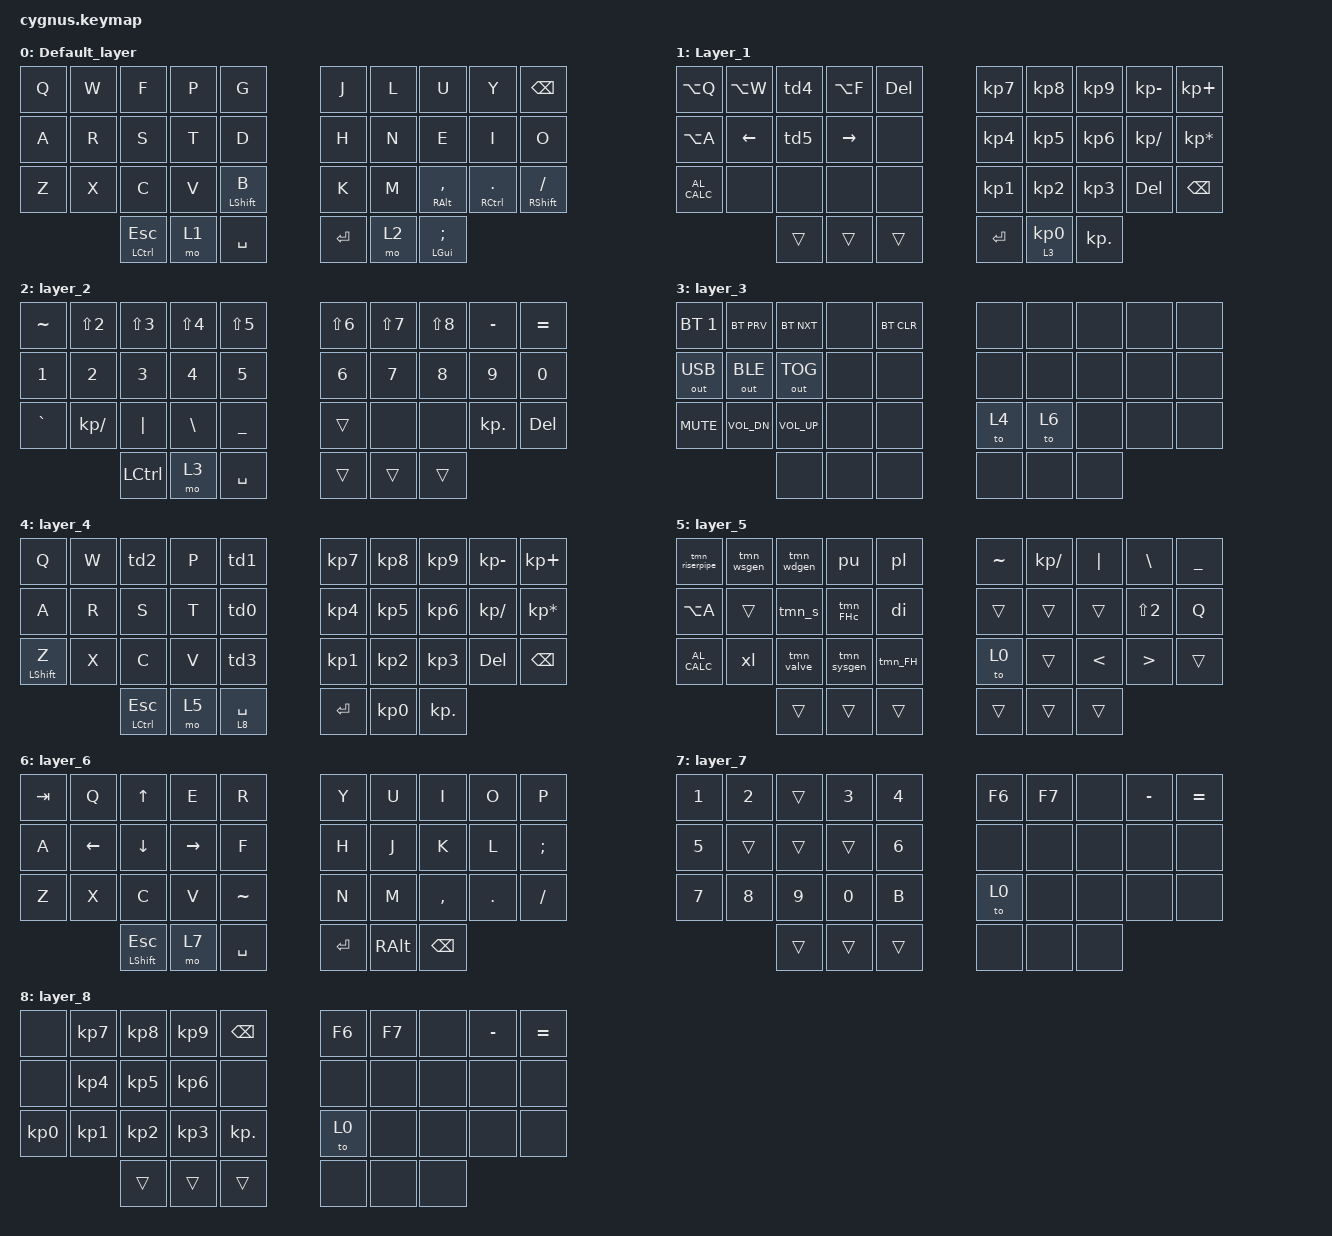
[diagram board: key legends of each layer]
/*
* Copyright (c) 2021 The ZMK Contributors
*
* SPDX-License-Identifier: MIT
*/

#include <behaviors.dtsi>
#include <dt-bindings/zmk/bt.h>
#include <dt-bindings/zmk/keys.h>
#include <dt-bindings/zmk/outputs.h>


/ {
    behaviors {
	    td0: tap_dance_0 {
            compatible = "zmk,behavior-tap-dance";
            label = "TAP_DANCE_0";
            #binding-cells = <0>;
            tapping-term-ms = <200>;
            bindings = 	<&kp O>, 
			            <&kp D>;
        };
	    td1: tap_dance_1 {
            compatible = "zmk,behavior-tap-dance";
            label = "TAP_DANCE_1";
            #binding-cells = <0>;
            tapping-term-ms = <200>;
            bindings = 	<&kp L>, 
			            <&kp I>;
        };
	    td2: tap_dance_2 {
            compatible = "zmk,behavior-tap-dance";
            label = "TAP_DANCE_2";
            #binding-cells = <0>;
            tapping-term-ms = <200>;
            bindings = 	<&kp E>, 
			            <&kp F>;
        };
        td3: tap_dance_3 {
            compatible = "zmk,behavior-tap-dance";
            label = "TAP_DANCE_3";
            #binding-cells = <0>;
            tapping-term-ms = <200>;
            bindings = 	<&kp M>, 
			            <&kp B>;
        };
        td4: tap_dance_4 {
            compatible = "zmk,behavior-tap-dance";
            label = "TAP_DANCE_4";
            #binding-cells = <0>;
            tapping-term-ms = <200>;
            bindings = 	<&kp UP_ARROW>, 
			            <&kp PAGE_UP>;
        };
        td5: tap_dance_5 {
            compatible = "zmk,behavior-tap-dance";
            label = "TAP_DANCE_5";
            #binding-cells = <0>;
            tapping-term-ms = <200>;
            bindings = 	<&kp DOWN_ARROW>, 
			            <&kp PAGE_DOWN>;
        };
        hm_l: homerow_mods_left {
            compatible = "zmk,behavior-hold-tap";
            label = "homerow mods";
            #binding-cells = <2>;
            tapping_term_ms = <170>;
            quick-tap-ms = <0>;
            require-prior-idle-ms = <125>;
            flavor = "tap-preferred";
            bindings =
                <&kp>,
                <&kp>;
        };
        hm_r: homerow_mods_right {
            compatible = "zmk,behavior-hold-tap";
            label = "homerow mods";
            #binding-cells = <2>;
            tapping_term_ms = <200>;
            quick-tap-ms = <150>;
            require-prior-idle-ms = <125>;
            flavor = "balanced";
            bindings =
                <&kp>,
                <&kp>;
        };
        qt: quick_tap {
            compatible = "zmk,behavior-hold-tap";
            label = "QUICK_TAP";
            #binding-cells = <2>;
            tapping-term-ms = <170>;
            quick-tap-ms = <125>;
            flavor = "hold-preferred";
            bindings =
                <&kp>,
                <&kp>;
        };
        qtl: quick_tap_layer {
            compatible = "zmk,behavior-hold-tap";
            label = "QUICK_TAP_LAYER";
            #binding-cells = <2>;
            tapping-term-ms = <170>;
            quick-tap-ms = <125>;
            flavor = "tap-preferred";
            global-quick-tap;
            bindings =
                <&mo>,
                <&kp>;
        };
    };

    macros {
        pl: pl {
            compatible = "zmk,behavior-macro";
            label = "PL";
            #binding-cells = <0>;
            bindings = <&kp P &kp L &kp ENTER>;
        };
        xl: xl {
            compatible = "zmk,behavior-macro";
            label = "XL";
            #binding-cells = <0>;
            bindings = <&kp X &kp L &kp ENTER>;
        };
        pu: pu {
            compatible = "zmk,behavior-macro";
            label = "PU";
            #binding-cells = <0>;
            bindings = <&kp P &kp U &kp ENTER>;
        };
        di: di {
            compatible = "zmk,behavior-macro";
            label = "DI";
            #binding-cells = <0>;
            bindings = <&kp D &kp I &kp ENTER>;
        };
        tmn_s: tmn_s {
            compatible = "zmk,behavior-macro";
            label = "TMN_S";
            #binding-cells = <0>;
            bindings = <&kp G &kp X &kp Y &kp C &kp ENTER>;
        };
        tmn_FH: tmn_FH {
            compatible = "zmk,behavior-macro";
            label = "TMN_FH";
            #binding-cells = <0>;
            bindings = <&kp B &kp X &kp H &kp S &kp ENTER>;
        };
        tmn_FHc: tmn_FHc {
            compatible = "zmk,behavior-macro";
            label = "TMN_FHC";
            #binding-cells = <0>;
            bindings = <&kp L &kp X &kp H &kp S &kp ENTER>;
        };
        tmn_sysgen: tmn_sysgen {
            compatible = "zmk,behavior-macro";
            label = "TMN_SYSGEN";
            #binding-cells = <0>;
            bindings = <&kp X &kp T &kp F &kp J &kp ENTER>;
        };
        tmn_valve: tmn_valve {
            compatible = "zmk,behavior-macro";
            label = "TMN_VALVE";
            #binding-cells = <0>;
            bindings = <&kp F &kp M &kp F &kp J &kp ENTER>;
        };
        tmn_riserpipe: tmn_riserpipe {
            compatible = "zmk,behavior-macro";
            label = "TMN_RISERPIPE";
            #binding-cells = <0>;
            bindings = <&kp L &kp G &kp B &kp Z &kp ENTER>;
        };
        tmn_wsgen: tmn_wsgen {
            compatible = "zmk,behavior-macro";
            label = "TMN_WSGEN";
            #binding-cells = <0>;
            bindings = <&kp G &kp S &kp F &kp J &kp ENTER>;
        };
        tmn_wdgen: tmn_wdgen {
            compatible = "zmk,behavior-macro";
            label = "TMN_WDGEN";
            #binding-cells = <0>;
            bindings = <&kp P &kp S &kp F &kp J &kp ENTER>;
        };
    };

    // COMBOS
    // ===========================================================================================================
    /*
	    .----------------------------------------------------------------------.
	    |  0  |  1  |  2  |  3  |  4  |          |  5  |  6  |  7  |  8  |  9  |
	    |  10 |  11 |  12 |  13 |  14 |          |  15 |  16 |  17 |  18 |  19 |
	    |  20 |  21 |  22 |  23 |  24 |          |  25 |  26 |  27 |  28 |  29 |
	    '-----------\  30 |  31 |  32 |          |  32 |  33 |  34 | /---------'
	                 '----------------------------------------------'
			
        ctrl+shift    = 10 | 20
        
	    tab 	= 0  | 1		
	    alt+F4 	= 0  | 24
        !    	= 1  | 2
		?    	= 27 | 28		
	    "    	= 11 | 13		
	    '   	= 21 | 23		

        F1	    = 0  | 10
        F2	    = 1  | 11
        F3      = 2  | 22
        F4 	    = 3  | 33
        F8 	    = 1  | 3

	    (       = 3  | 4        
        )       = 20 | 21
        [       = 13 | 14
        ]       = 15 | 16
        {       = 23 | 24
        }       = 25 | 26

        ENTER   = 18 | 19 (layer_4)	    
    */

    combos {
        compatible = "zmk,combos";   
        
        tab {
            bindings = <&kp TAB>;
            key-positions = <0 1>;
            layers = <0 4 6>;
            timeout-ms = <40>;
        };

        enter {
            bindings = <&kp ENTER>;
            key-positions = <18 19>;
            layers = <1 4>;
            timeout-ms = <40>;
        };

        cb_bootloader {
            bindings = <&bootloader>;
            key-positions = <13 16>;
            layers = <3>;
            timeout-ms = <40>;
        };
        
        cb_exclamation {
            bindings = <&kp EXCL>;
            key-positions = <1 2>;
            layers = <0 6>;
            timeout-ms = <40>;
        };
        
        cb_question {
            bindings = <&kp QMARK>;
            key-positions = <27 28>;
            layers = <0 6>;
            timeout-ms = <40>;
        };

        cb_doublequotes {
            bindings = <&kp DQT>;
            key-positions = <11 13>;
            layers = <0 4>;
            timeout-ms = <40>;
        };

        cb_singlequote {
            bindings = <&kp SQT>;
            key-positions = <21 23>;
            layers = <0 4>;
            timeout-ms = <40>;
        };

        ctrl_plus_shift {
            bindings = <&kp LC(LS(LCTRL))>;
            key-positions = <10 20>;
            layers = <0 4 6>;
            timeout-ms = <40>;
        };

        combo_f1 {
            bindings = <&kp F1>;
            key-positions = <0 10>;
            layers = <0 4>;
        };

        combo_f2 {
            bindings = <&kp F2>;
            key-positions = <1 11>;
            layers = <0 4>;
        };

        combo_f3 {
            bindings = <&kp F3>;
            key-positions = <2 12>;
            layers = <0 4>;
        };

        combo_f4 {
            bindings = <&kp F4>;
            key-positions = <3 13>;
            layers = <0 4>;
        };

        combo_f5 {
            bindings = <&kp F5>;
            key-positions = <4 14>;
            layers = <0 4 6>;
        };

        combo_f8 {
            bindings = <&kp F8>;
            key-positions = <1 3>;
            layers = <0 4>;
            timeout-ms = <40>;
        };

        cb_lpar {
            bindings = <&kp LEFT_PARENTHESIS>;
            key-positions = <3 4>;
        };

        cb_rlar {
            bindings = <&kp RIGHT_PARENTHESIS>;
            key-positions = <5 6>;
        };

        cb_lbkt {
            bindings = <&kp LEFT_BRACKET>;
            key-positions = <13 14>;
        };

        cb_rbkt {
            bindings = <&kp RIGHT_BRACKET>;
            key-positions = <15 16>;
        };

        cb_lbrc {
            bindings = <&kp LEFT_BRACE>;
            key-positions = <23 24>;
        };

        cb_rbrc {
            bindings = <&kp RIGHT_BRACE>;
            key-positions = <25 26>;
        };

        cb_altf4 {
            bindings = <&kp LA(F4)>;
            key-positions = <0 24>;
        };
    };

    keymap {
        compatible = "zmk,keymap";

        Default_layer {
            bindings = <
                &kp Q    &kp W      &kp F                       &kp P   &kp G                   &kp J        &kp L     &kp U                    &kp Y                       &kp BACKSPACE
                &kp A    &kp R      &kp S                       &kp T   &kp D                   &kp H        &kp N     &kp E                    &kp I                       &kp O
                &kp Z    &kp X      &kp C                       &kp V   &hm_l LEFT_SHIFT B      &kp K        &kp M     &hm_r RIGHT_ALT COMMA    &hm_r RIGHT_CONTROL DOT     &hm_r RIGHT_SHIFT SLASH
                                    &qt LEFT_CONTROL ESCAPE     &mo 1   &kp SPACE               &kp ENTER    &mo 2     &qt LEFT_GUI SEMI
            >;
        };

        Layer_1 {
            bindings = <
                &kp LA(Q)       &kp LA(W)           &td4            &kp LA(F)        &kp DELETE       &kp KP_NUMBER_7   &kp KP_NUMBER_8     &kp KP_NUMBER_9  &kp KP_MINUS  &kp KP_PLUS
                &kp LA(A)       &kp LEFT_ARROW      &td5            &kp RIGHT_ARROW  &none            &kp KP_NUMBER_4   &kp KP_NUMBER_5     &kp KP_NUMBER_6  &kp KP_SLASH  &kp KP_ASTERISK
                &kp C_AL_CALC   &none               &none           &none            &none            &kp KP_NUMBER_1   &kp KP_NUMBER_2     &kp KP_NUMBER_3  &kp DELETE    &kp BACKSPACE
                                                    &trans          &trans           &trans           &kp ENTER         &qtl 3 KP_NUMBER_0  &kp KP_DOT
            >;
        };

        layer_2 {
            bindings = <
                &kp TILDE       &kp LS(NUMBER_2)  &kp LS(NUMBER_3)  &kp LS(NUMBER_4)   &kp LS(NUMBER_5)        &kp LS(NUMBER_6)  &kp LS(NUMBER_7)  &kp LS(N8)    &kp MINUS     &kp EQUAL
                &kp NUMBER_1    &kp NUMBER_2      &kp NUMBER_3      &kp NUMBER_4       &kp NUMBER_5            &kp NUMBER_6      &kp NUMBER_7      &kp NUMBER_8  &kp NUMBER_9  &kp NUMBER_0
                &kp GRAVE       &kp KP_SLASH      &kp PIPE          &kp BACKSLASH      &kp UNDER               &trans            &none             &none         &kp KP_DOT    &kp DELETE
                                                  &kp LEFT_CONTROL  &mo 3              &kp SPACE               &trans            &trans            &trans
            >;
        };

        layer_3 {
            bindings = <
                &bt BT_SEL 1    &bt BT_PRV      &bt BT_NXT      &none           &bt BT_CLR          &none           &none           &none           &none           &none
                &out OUT_USB    &out OUT_BLE    &out OUT_TOG    &none           &none       	    &none           &none           &none           &none           &none
                &kp C_MUTE      &kp C_VOL_DN    &kp C_VOL_UP    &none           &none               &to 4           &to 6           &none           &none           &none
                                                &none           &none           &none       	    &none           &none           &none
            >;
        };  

        layer_4 {
            bindings = <
                &kp Q               &kp W  &td2                        &kp P   &td1             &kp KP_NUMBER_7  &kp KP_NUMBER_8  &kp KP_NUMBER_9  &kp KP_MINUS   &kp KP_PLUS
                &kp A               &kp R  &kp S                       &kp T   &td0             &kp KP_NUMBER_4  &kp KP_NUMBER_5  &kp KP_NUMBER_6  &kp KP_SLASH   &kp KP_ASTERISK
                &hm_l LEFT_SHIFT Z  &kp X  &kp C                       &kp V   &td3      	    &kp KP_NUMBER_1  &kp KP_NUMBER_2  &kp KP_NUMBER_3  &kp DELETE     &kp BACKSPACE
                                        &qt LEFT_CONTROL ESCAPE     &mo 5   &qtl 8 SPACE        &kp ENTER        &kp KP_NUMBER_0  &kp KP_DOT
            >;
        };

        layer_5 {
            bindings = <
                &tmn_riserpipe    &tmn_wsgen  &tmn_wdgen  &pu          &pl          &kp TILDE  &kp KP_SLASH     &kp PIPE        &kp BACKSLASH       &kp UNDER
                &kp LA(A)         &trans      &tmn_s      &tmn_FHc     &di          &trans     &trans           &trans          &kp LS(NUMBER_2)    &kp Q
                &kp C_AL_CALC     &xl         &tmn_valve  &tmn_sysgen  &tmn_FH      &to 0      &trans           &kp LESS_THAN   &kp GREATER_THAN    &trans
                                              &trans      &trans       &trans       &trans     &trans           &trans
            >;
        };

        layer_6 {
            bindings = <
                &kp TAB   &kp Q           &kp UP_ARROW    &kp E               &kp R                    &kp Y       &kp U            &kp I          &kp O    &kp P      
                &kp A     &kp LEFT_ARROW  &kp DOWN_ARROW  &kp RIGHT_ARROW     &kp F                    &kp H       &kp J            &kp K          &kp L    &kp SEMI
                &kp Z     &kp X           &kp C           &kp V               &kp TILDE                &kp N       &kp M            &kp COMMA      &kp DOT  &kp SLASH
                                 &hm_l LEFT_SHIFT ESCAPE     &mo 7         &kp SPACE                        &kp ENTER   &kp RIGHT_ALT    &kp BACKSPACE
            >;
        };

        layer_7 {
            bindings = <
                &kp NUMBER_1    &kp NUMBER_2     &trans         &kp NUMBER_3   &kp NUMBER_4           &kp F6  &kp F7  &none  &kp MINUS   &kp EQUAL
                &kp NUMBER_5    &trans           &trans         &trans         &kp NUMBER_6           &none   &none   &none  &none       &none
                &kp NUMBER_7    &kp NUMBER_8     &kp NUMBER_9   &kp NUMBER_0   &kp B                  &to 0   &none   &none  &none       &none
                                                             &trans  &trans  &trans                       &none   &none   &none
            >;
        };

        layer_8 {
            bindings = <
                &none    &kp KP_NUMBER_7  &kp KP_NUMBER_8  &kp KP_NUMBER_9   &kp BACKSPACE                &kp F6  &kp F7  &none  &kp MINUS   &kp EQUAL
                &none    &kp KP_NUMBER_4  &kp KP_NUMBER_5  &kp KP_NUMBER_6   &none                        &none   &none   &none  &none       &none
                &kp KP_NUMBER_0    &kp KP_NUMBER_1  &kp KP_NUMBER_2  &kp KP_NUMBER_3   &kp KP_DOT         &to 0   &none   &none  &none       &none
                                                             &trans  &trans  &trans                       &none   &none   &none
            >;
        };
    };
};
